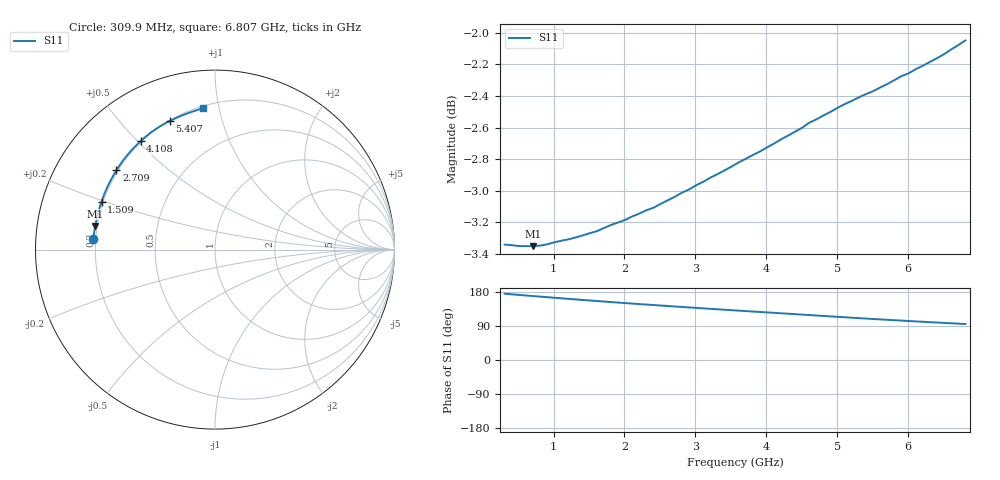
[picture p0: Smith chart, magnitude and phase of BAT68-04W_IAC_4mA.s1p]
! Infineon Technologies  Discrete & RF Semiconductors
! BAT68-04W
! IAC = 4 mA
! One-Port S-Parameters
# Hz  S  MA  R  50
!f  S11
!Hz  Mag  Ang
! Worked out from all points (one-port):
!   66 points, 309.9 MHz to 6.807 GHz, reference 50 ohm
!   lowest |S11| = -3.4 dB at 709.6 MHz (marker M1), VSWR 5.25, Z = 9.62 + j4.73 ohm
!   |S11| at or under -10 dB: nowhere
!   S11 on the Smith chart (normalised r, x): 309.9 MHz: 0.19, +0.04; 1.509 GHz: 0.19, +0.20; 2.709 GHz: 0.19, +0.34; 4.108 GHz: 0.20, +0.51; 5.407 GHz: 0.20, +0.69; 6.807 GHz: 0.21, +0.89
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3.0985e8  0.6806 174.8
4.098e8  0.6803 173.3
7.0965e8  0.6798 168.8
1.0095e9  0.6817 164.3
1.2094e9  0.6832 161.3
1.50925e9  0.6863 157.1
1.8091e9  0.6904 152.9
2.009e9  0.693 150.2
2.30885e9  0.6979 146.3
2.6087e9  0.703 142.5
2.70865e9  0.7048 141.2
2.8086e9  0.7069 140.0
3.2084e9  0.7146 135.1
3.6082e9  0.7227 130.3
3.8081e9  0.7266 127.9
4.10795e9  0.7327 124.5
4.2079e9  0.735 123.2
4.4078e9  0.7392 121.0
4.6077e9  0.744 118.6
4.8076e9  0.7479 116.2
5.0075e9  0.7521 113.9
5.2074e9  0.7559 111.6
5.4073e9  0.7597 109.3
5.8071e9  0.7675 105.0
6.007e9  0.7713 102.9
6.30685e9  0.7777 99.8
6.6067e9  0.7848 96.9
6.8066e9  0.79 94.9
